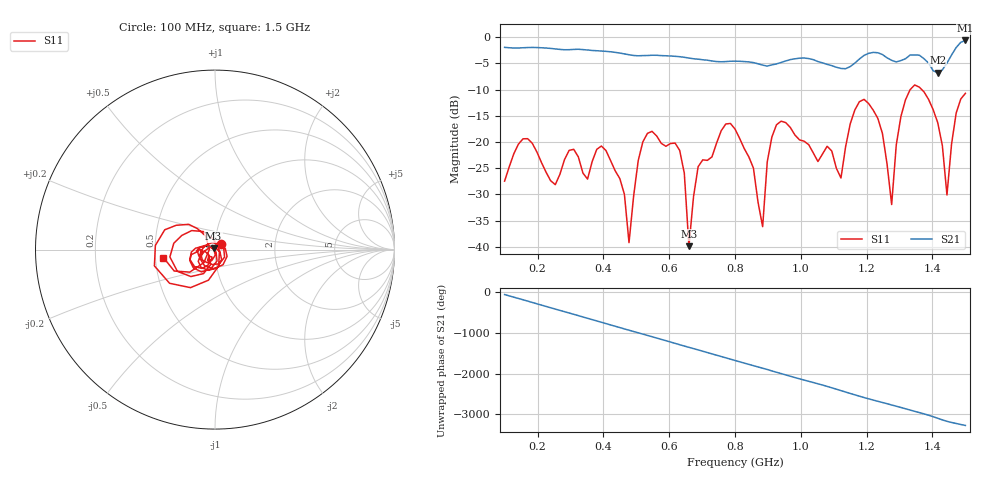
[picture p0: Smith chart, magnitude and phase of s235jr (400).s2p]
! NanoVNA-App
! Date: 2025-09-25 15:07:16
! Start: 100MHz Stop: 1,5GHz Points: 101
! S-Parameter data: F S11 S21 S12 S22
# Hz S RI R 50
!  Frequency  S11_Real  S11_Imag  S21_Real  S21_Imag  S12_Real  S12_Imag  S22_Real  S22_Imag
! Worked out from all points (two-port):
!   101 points, 100 MHz to 1.5 GHz, reference 50 ohm
!   highest |S21| = -0.64 dB at 1.5 GHz (marker M1); lowest = -6.8 dB at 1.416 GHz (marker M2)
!   |S21| within 3 dB of the highest: start of sweep to 612 MHz; 1.189 GHz to 1.255 GHz (65.9 MHz wide, 5.39 % of centre) (the widest 2 of 4)
!   lowest |S11| = -39.9 dB at 660 MHz (marker M3), VSWR 1.02, Z = 49.2 + j0.614 ohm
!   |S11| at or under -10 dB: start of sweep to 1.333 GHz; 1.367 GHz to end of sweep
!   S12 and S22 are empty: the file has one direction only
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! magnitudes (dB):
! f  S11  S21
! 100 MHz  -27.5  -2.0
! 156 MHz  -19.4  -2.0
! 338 MHz  -25.9  -2.4
! 408 MHz  -21.6  -2.7
! 478 MHz  -39.2  -3.4
! 520 MHz  -20.0  -3.5
! 576 MHz  -20.3  -3.5
! 632 MHz  -21.6  -3.7
! 660 MHz  -39.9  -4.0
! 688 MHz  -24.7  -4.2
! 800 MHz  -17.5  -4.6
! 884 MHz  -36.2  -5.3
! 926 MHz  -16.7  -5.1
! 1.038 GHz  -22.1  -4.3
! 1.122 GHz  -26.9  -6.0
! 1.192 GHz  -11.9  -3.5
! 1.248 GHz  -18.4  -3.3
! 1.276 GHz  -31.9  -4.4
! 1.332 GHz  -10.0  -3.4
! 1.416 GHz  -16.3  -6.8
! 1.444 GHz  -30.1  -5.0
! 1.5 GHz  -10.7  -0.6
